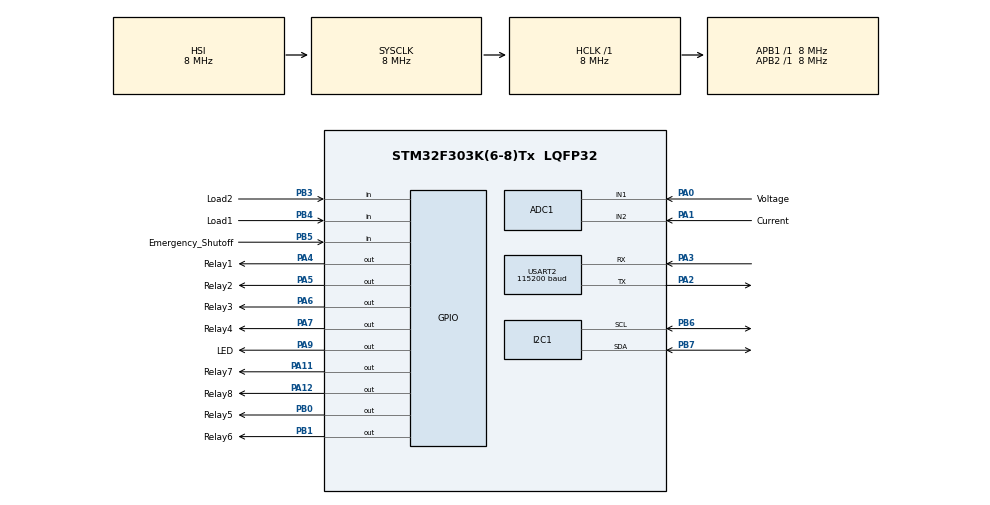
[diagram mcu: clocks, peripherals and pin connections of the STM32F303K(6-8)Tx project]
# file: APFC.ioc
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ADC1.Channel-0\#ChannelRegularConversion=ADC_CHANNEL_1
ADC1.Channel-1\#ChannelRegularConversion=ADC_CHANNEL_2
ADC1.ContinuousConvMode=DISABLE
ADC1.DMAContinuousRequests=ENABLE
ADC1.ExternalTrigConv=ADC_EXTERNALTRIGCONV_T2_TRGO
ADC1.NbrOfConversion=2
ADC1.NbrOfConversionFlag=1
ADC1.Offset-0\#ChannelRegularConversion=0
ADC1.Offset-1\#ChannelRegularConversion=0
ADC1.OffsetNumber-0\#ChannelRegularConversion=ADC_OFFSET_NONE
ADC1.OffsetNumber-1\#ChannelRegularConversion=ADC_OFFSET_NONE
ADC1.Rank-0\#ChannelRegularConversion=1
ADC1.Rank-1\#ChannelRegularConversion=2
ADC1.SamplingTime-0\#ChannelRegularConversion=ADC_SAMPLETIME_19CYCLES_5
ADC1.SamplingTime-1\#ChannelRegularConversion=ADC_SAMPLETIME_19CYCLES_5
ADC1.SamplingTimeOPAMP-1\#ChannelRegularConversion=ADC_SAMPLETIME_7CYCLES_5
ADC1.SubFamily=STM32F303x8
ADC1.master=1
Dma.ADC1.0.Direction=DMA_PERIPH_TO_MEMORY
Dma.ADC1.0.Instance=DMA1_Channel1
Dma.ADC1.0.MemDataAlignment=DMA_MDATAALIGN_WORD
Dma.ADC1.0.MemInc=DMA_MINC_ENABLE
Dma.ADC1.0.Mode=DMA_CIRCULAR
Dma.ADC1.0.PeriphDataAlignment=DMA_PDATAALIGN_WORD
Dma.ADC1.0.PeriphInc=DMA_PINC_DISABLE
Dma.ADC1.0.Priority=DMA_PRIORITY_LOW
Dma.Request0=ADC1
I2C1.Timing=0x00201D2B
Mcu.Family=STM32F3
Mcu.Name=STM32F303K(6-8)Tx
Mcu.Package=LQFP32
NVIC.ADC1_2_IRQn=true\:0\:0\:false\:false\:true\:true\:true\:true
NVIC.DMA1_Channel1_IRQn=true\:0\:0\:false\:false\:true\:false\:true\:true
NVIC.FPU_IRQn=true\:0\:0\:false\:false\:true\:true\:false\:true
NVIC.I2C1_ER_IRQn=true\:0\:0\:false\:false\:true\:true\:true\:true
NVIC.I2C1_EV_IRQn=true\:0\:0\:false\:false\:true\:true\:true\:true
NVIC.PriorityGroup=NVIC_PRIORITYGROUP_4
NVIC.TIM2_IRQn=true\:0\:0\:false\:false\:true\:true\:true\:true
NVIC.USART2_IRQn=true\:0\:0\:false\:false\:true\:true\:true\:true
PA0.GPIO_Label=Voltage
PA0.Mode=IN1-Single-Ended
PA0.Signal=ADC1_IN1
PA1.GPIO_Label=Current
PA1.Mode=IN2-Single-Ended
PA1.Signal=ADC1_IN2
PA11.GPIO_Label=Relay7
PA11.Signal=GPIO_Output
PA12.GPIO_Label=Relay8
PA12.Signal=GPIO_Output
PA13.GPIO_Label=SWDIO
PA13.Mode=Serial_Wire
PA13.Signal=SYS_JTMS-SWDIO
PA14.GPIO_Label=SWCLK
PA14.Mode=Serial_Wire
PA14.Signal=SYS_JTCK-SWCLK
PA2.Mode=Asynchronous
PA2.Signal=USART2_TX
PA3.Mode=Asynchronous
PA3.Signal=USART2_RX
PA4.GPIO_Label=Relay1
PA4.Signal=GPIO_Output
PA5.GPIO_Label=Relay2
PA5.Signal=GPIO_Output
PA6.GPIO_Label=Relay3
PA6.Signal=GPIO_Output
PA7.GPIO_Label=Relay4
PA7.Signal=GPIO_Output
PA9.GPIO_Label=LED
PA9.Signal=GPIO_Output
PB0.GPIO_Label=Relay5
PB0.Signal=GPIO_Output
PB1.GPIO_Label=Relay6
PB1.Signal=GPIO_Output
PB3.GPIO_Label=Load2
PB3.GPIO_PuPd=GPIO_PULLDOWN
PB3.Signal=GPIO_Input
PB4.GPIO_Label=Load1
PB4.GPIO_PuPd=GPIO_PULLDOWN
PB4.Signal=GPIO_Input
PB5.GPIO_Label=Emergency_Shutoff
PB5.Signal=GPIO_Input
PB6.GPIO_Pu=GPIO_PULLUP
PB6.Mode=I2C
PB6.Signal=I2C1_SCL
PB7.GPIO_Pu=GPIO_PULLUP
PB7.Mode=I2C
PB7.Signal=I2C1_SDA
PF0\ /\ OSC_IN.GPIO_Label=MCO
PF0\ /\ OSC_IN.Mode=HSE-External-Clock-Source
PF0\ /\ OSC_IN.Signal=RCC_OSC_IN
ProjectManager.HeapSize=0x200
ProjectManager.StackSize=0x400
ProjectManager.TargetToolchain=STM32CubeIDE
RCC.AHBFreq_Value=8000000
RCC.APB1Freq_Value=8000000
RCC.APB2Freq_Value=8000000
RCC.CortexFreq_Value=8000000
RCC.HSE_VALUE=8000000
RCC.HSI_VALUE=8000000
RCC.PLLMUL=RCC_PLL_MUL4
RCC.SYSCLKFreq_VALUE=8000000
TIM2.Period=19
TIM2.Prescaler=79
TIM2.TIM_MasterOutputTrigger=TIM_TRGO_UPDATE
TIM2.TIM_MasterSlaveMode=TIM_MASTERSLAVEMODE_DISABLE
USART2.BaudRate=115200
USART2.VirtualMode-Asynchronous=VM_ASYNC
VP_TIM2_VS_ClockSourceINT.Mode=Internal
board=NUCLEO-F303K8

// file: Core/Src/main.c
/* USER CODE BEGIN Header */
/**
  ******************************************************************************
  * @file           : main.c
  * @brief          : Main program body
  ******************************************************************************
  * @attention
  *
  * Copyright (c) 2026 STMicroelectronics.
  * All rights reserved.
  *
  * This software is licensed under terms that can be found in the LICENSE file
  * in the root directory of this software component.
  * If no LICENSE file comes with this software, it is provided AS-IS.
  *
  ******************************************************************************
  */
/* USER CODE END Header */
#include "main.h"

/* USER CODE BEGIN Includes */
#include "I2C_LCD_PCF8574.h"
#include <stdio.h>
#include <stdlib.h>
#include <string.h>
#include <math.h>
/* USER CODE END Includes */

/* USER CODE BEGIN PD */
#define SAMPLE_COUNT 500
#define SENSOR_GAIN     1			// NEED TO ADD GAIN FOR VOLTAGE
#define PF_TARGET       0.95f
#define PF_HYST         0.02f
#define PF_FILTER_SIZE  10
#define Q_MIN           2.0f
#define MIN_V           0.05f
#define MIN_I           0.01f
/* USER CODE END PD */

ADC_HandleTypeDef hadc1;
DMA_HandleTypeDef hdma_adc1;

I2C_HandleTypeDef hi2c1;

TIM_HandleTypeDef htim2;

UART_HandleTypeDef huart2;

/* USER CODE BEGIN PV */
volatile uint32_t adc_dma_buffer[2 * SAMPLE_COUNT];
volatile uint8_t buffer_full = 0;
static uint8_t relay_state = 0;
char msg[50];
char lcd_string[17];
float pf = 0;
float pf_corrected = 0;
float pf_buffer[PF_FILTER_SIZE] = {0};
uint8_t pf_index = 0;
uint8_t pf_filled = 0;
uint8_t freq = 60;
/* USER CODE END PV */

void SystemClock_Config(void);
static void MX_GPIO_Init(void);
static void MX_DMA_Init(void);
static void MX_ADC1_Init(void);
static void MX_TIM2_Init(void);
static void MX_USART2_UART_Init(void);
static void MX_I2C1_Init(void);
/* USER CODE BEGIN PFP */
void UART_PutString(char * uart_str);
void CapBankSwitchLogic(float Qc);
void Relay_On(uint8_t relay);
void Relay_Off(uint8_t relay);
float PF_Filter(float pf_corrected);
/* USER CODE END PFP */

int main(void)
{

  /* MCU Configuration--------------------------------------------------------*/

  /* Reset of all peripherals, Initializes the Flash interface and the Systick. */
  HAL_Init();

  /* Configure the system clock */
  SystemClock_Config();

  /* Initialize all configured peripherals */
  MX_GPIO_Init();
  MX_DMA_Init();
  MX_ADC1_Init();
  MX_TIM2_Init();
  MX_USART2_UART_Init();
  MX_I2C1_Init();
  /* USER CODE BEGIN 2 */
  HAL_Delay(5);
  LCD_Start();
  HAL_Delay(5);
  HAL_TIM_Base_Start_IT(&htim2);
  HAL_ADC_Start_DMA(&hadc1, (uint32_t*)adc_dma_buffer, 2*SAMPLE_COUNT);

  HAL_StatusTypeDef ret;

  ret = HAL_I2C_IsDeviceReady(&hi2c1, 0x4E, 3, 100);
  if(ret == HAL_OK)
      UART_PutString("LCD FOUND\r\n");
  else
      UART_PutString("LCD NOT FOUND\r\n");

  /* USER CODE END 2 */

  /* Infinite loop */
  /* USER CODE BEGIN WHILE */
  while (1)
  {
      if(buffer_full)
      {
          buffer_full = 0;
          float v_mean = 0, i_mean = 0;
          float v_rms = 0, i_rms = 0;
          float v, c, v_real, i_real;
          float real_power = 0, apparent_power = 0;
          float volts_per_count = 3.3f / 4095.0f;

          // MEAN CALCULATION (To remove DC offset / center at zero)
          for(int i = 0; i < SAMPLE_COUNT; i++)
          {
              v_mean += adc_dma_buffer[2*i];
              i_mean += adc_dma_buffer[2*i + 1];
          }
          v_mean /= SAMPLE_COUNT;
          i_mean /= SAMPLE_COUNT;

          // RMS + REAL POWER + APPARENT POWER
          for(int i = 0; i < SAMPLE_COUNT; i++)
          {
              v = adc_dma_buffer[2*i] - v_mean;
              c = adc_dma_buffer[2*i + 1] - i_mean;

              v_real = v * volts_per_count;
              i_real = (c * volts_per_count) / SENSOR_GAIN;		// PRIORITY // CT: Is = (Ip / 1000) // Vs = Is * (50 0hm) // Pot gain is 20, 50/1000 = .05*20 = 1
              	  	  	  	  	  	  	  	  	  	  	  	  	// SENSOR GAIN SHOULD BE 1
              v_rms += (v_real * v_real);
              i_rms += (i_real * i_real);

              real_power += (v_real * i_real);
          }
          v_rms = sqrtf(v_rms / SAMPLE_COUNT);
          i_rms = sqrtf(i_rms / SAMPLE_COUNT);

          // --------------------------------------------------------------------------------
          static uint32_t last_switch_time = 0;

    	  // Emergency_Shutoff
          int Emergency;
          if (HAL_GPIO_ReadPin(Emergency_Shutoff_GPIO_Port, Emergency_Shutoff_Pin) == GPIO_PIN_SET)
          {Emergency = 1;}

          // Over/Under Voltage Protection (Relay 8)
          if (v_rms < 108.0f || v_rms > 132.0f || Emergency)
          {
              Relay_Off(8); // Shut off main
              CapBankSwitchLogic(0);
              last_switch_time = HAL_GetTick();
              UART_PutString("VOLTAGE FAULT \r\n");
          }
          else if (HAL_GetTick() - last_switch_time > 3000)
          {Relay_On(8);}

          // Load 1 / Load 2
          if (HAL_GPIO_ReadPin(Load1_GPIO_Port, Load1_Pin) == GPIO_PIN_SET)
          {Relay_On(6);}
          else if (HAL_GetTick() - last_switch_time > 3000)
          {Relay_Off(6);}
          if (HAL_GPIO_ReadPin(Load2_GPIO_Port, Load2_Pin) == GPIO_PIN_SET)
          {Relay_On(7);}
          else if (HAL_GetTick() - last_switch_time > 3000)
          {Relay_Off(7);}
          // ----------------------------------------------------------------------------------

          real_power /= SAMPLE_COUNT;
          apparent_power = (v_rms * i_rms);

          // SIGNAL VALIDATION + POWER FACTOR
          if(v_rms < MIN_V || i_rms < MIN_I)
          {
              Relay_Off(1);
              Relay_Off(2);
              Relay_Off(3);
              Relay_Off(4);
              Relay_Off(5);

              relay_state = 0;

              UART_PutString("Signal too small \r\n");
              HAL_ADC_Start_DMA(&hadc1, (uint32_t*)adc_dma_buffer, 2*SAMPLE_COUNT);
              //continue; // Returns to top of loop											UNCOMMENT UNCOMMENT UNCOMMENT UNCOMMENT
          }
          else
          {
              pf = real_power / apparent_power;
              float angle = acosf(pf);					// in radians
              pf_corrected = cosf(angle + 0.349); // 20 degrees*(pi/180) = 0.349 radians // 20 degree offset from CT	// Check again after voltage module
          }

          // Clamp
          if(pf_corrected >= 1) pf_corrected = 0.999f;	 // Prevent acos/tan instability
          if(pf_corrected <= -1) pf_corrected = -0.999f; // Prevent acos/tan instability

          // Filter
          float pf_safe = PF_Filter(pf_corrected);

          // REACTIVE POWER
          float Qcurrent = real_power * tanf(acosf(pf_safe));
          float Qtarget  = real_power * tanf(acosf(PF_TARGET));
          float Qc = Qcurrent - Qtarget;
          float C = (Qc / (2.0f * M_PI * freq * (v_rms * v_rms))) * 1000000.0f;

          // DEAD BAND
          if(pf_safe > (PF_TARGET - PF_HYST) && pf_safe < (PF_TARGET + PF_HYST))
          {
              snprintf(msg, 50, "PF: %.2f (stable) \r\n", pf_safe);
              UART_PutString(msg);
              HAL_ADC_Start_DMA(&hadc1, (uint32_t*)adc_dma_buffer, 2*SAMPLE_COUNT);
              //continue;																UNCOMMENT UNCOMMENT UNCOMMENT UNCOMMENT
          }

          // RELAY DELAY
          if(HAL_GetTick() - last_switch_time < 3000)
        	  HAL_ADC_Start_DMA(&hadc1, (uint32_t*)adc_dma_buffer, 2*SAMPLE_COUNT);
              //continue;																UNCOMMENT UNCOMMENT UNCOMMENT UNCOMMENT

          // CONTROL LOGIC
          if(pf_safe < (PF_TARGET - PF_HYST))
          {
              // Need more capacitance
              CapBankSwitchLogic(C);
              last_switch_time = HAL_GetTick();
          }
          else if(pf_safe > (PF_TARGET + PF_HYST))
          {
        	  CapBankSwitchLogic(0);
        	  last_switch_time = HAL_GetTick();
          }

          // Print values to terminal
          snprintf(msg, 50, "V: %.2f V, I: %.2f A, PF: %.3f \r\n", v_rms, i_rms, pf_safe);
          UART_PutString(msg);

          // LCD_PutChar(sel+0x30); or just the number you want: 0x3#
          // Print values to LCD
          LCD_ClearDisplay();
          snprintf(lcd_string, 17, "PF: %.2f", pf_safe);
          //LCD_Position(0, 0);
          LCD_PrintString(lcd_string);
          snprintf(lcd_string, 17, "V:%.1f I:%.1f", v_rms, i_rms);
          LCD_Position(1, 0);
          LCD_PrintString(lcd_string);

          HAL_ADC_Start_DMA(&hadc1, (uint32_t*)adc_dma_buffer, 2*SAMPLE_COUNT);
      }

    /* USER CODE END WHILE */

  }
}

void SystemClock_Config(void)
{
  RCC_OscInitTypeDef RCC_OscInitStruct = {0};
  RCC_ClkInitTypeDef RCC_ClkInitStruct = {0};
  RCC_PeriphCLKInitTypeDef PeriphClkInit = {0};

  /** Initializes the RCC Oscillators according to the specified parameters
  * in the RCC_OscInitTypeDef structure.
  */
  RCC_OscInitStruct.OscillatorType = RCC_OSCILLATORTYPE_HSI;
  RCC_OscInitStruct.HSIState = RCC_HSI_ON;
  RCC_OscInitStruct.HSICalibrationValue = RCC_HSICALIBRATION_DEFAULT;
  RCC_OscInitStruct.PLL.PLLState = RCC_PLL_ON;
  RCC_OscInitStruct.PLL.PLLSource = RCC_PLLSOURCE_HSI;
  RCC_OscInitStruct.PLL.PLLMUL = RCC_PLL_MUL4;
  if (HAL_RCC_OscConfig(&RCC_OscInitStruct) != HAL_OK)
  {
    Error_Handler();
  }

  /** Initializes the CPU, AHB and APB buses clocks
  */
  RCC_ClkInitStruct.ClockType = RCC_CLOCKTYPE_HCLK|RCC_CLOCKTYPE_SYSCLK
                              |RCC_CLOCKTYPE_PCLK1|RCC_CLOCKTYPE_PCLK2;
  RCC_ClkInitStruct.SYSCLKSource = RCC_SYSCLKSOURCE_HSI;
  RCC_ClkInitStruct.AHBCLKDivider = RCC_SYSCLK_DIV1;
  RCC_ClkInitStruct.APB1CLKDivider = RCC_HCLK_DIV1;
  RCC_ClkInitStruct.APB2CLKDivider = RCC_HCLK_DIV1;

  if (HAL_RCC_ClockConfig(&RCC_ClkInitStruct, FLASH_LATENCY_0) != HAL_OK)
  {
    Error_Handler();
  }
  PeriphClkInit.PeriphClockSelection = RCC_PERIPHCLK_I2C1|RCC_PERIPHCLK_ADC12;
  PeriphClkInit.Adc12ClockSelection = RCC_ADC12PLLCLK_DIV1;
  PeriphClkInit.I2c1ClockSelection = RCC_I2C1CLKSOURCE_HSI;
  if (HAL_RCCEx_PeriphCLKConfig(&PeriphClkInit) != HAL_OK)
  {
    Error_Handler();
  }
}

static void MX_ADC1_Init(void)
{

  ADC_MultiModeTypeDef multimode = {0};
  ADC_ChannelConfTypeDef sConfig = {0};

  /** Common config
  */
  hadc1.Instance = ADC1;
  hadc1.Init.ClockPrescaler = ADC_CLOCK_ASYNC_DIV1;
  hadc1.Init.Resolution = ADC_RESOLUTION_12B;
  hadc1.Init.ScanConvMode = ADC_SCAN_ENABLE;
  hadc1.Init.ContinuousConvMode = DISABLE;
  hadc1.Init.DiscontinuousConvMode = DISABLE;
  hadc1.Init.ExternalTrigConvEdge = ADC_EXTERNALTRIGCONVEDGE_RISING;
  hadc1.Init.ExternalTrigConv = ADC_EXTERNALTRIGCONV_T2_TRGO;
  hadc1.Init.DataAlign = ADC_DATAALIGN_RIGHT;
  hadc1.Init.NbrOfConversion = 2;
  hadc1.Init.DMAContinuousRequests = ENABLE;
  hadc1.Init.EOCSelection = ADC_EOC_SINGLE_CONV;
  hadc1.Init.LowPowerAutoWait = DISABLE;
  hadc1.Init.Overrun = ADC_OVR_DATA_OVERWRITTEN;
  if (HAL_ADC_Init(&hadc1) != HAL_OK)
  {
    Error_Handler();
  }

  /** Configure the ADC multi-mode
  */
  multimode.Mode = ADC_MODE_INDEPENDENT;
  if (HAL_ADCEx_MultiModeConfigChannel(&hadc1, &multimode) != HAL_OK)
  {
    Error_Handler();
  }

  /** Configure Regular Channel
  */
  sConfig.Channel = ADC_CHANNEL_1;
  sConfig.Rank = ADC_REGULAR_RANK_1;
  sConfig.SingleDiff = ADC_SINGLE_ENDED;
  sConfig.SamplingTime = ADC_SAMPLETIME_19CYCLES_5;
  sConfig.OffsetNumber = ADC_OFFSET_NONE;
  sConfig.Offset = 0;
  if (HAL_ADC_ConfigChannel(&hadc1, &sConfig) != HAL_OK)
  {
    Error_Handler();
  }

  /** Configure Regular Channel
  */
  sConfig.Channel = ADC_CHANNEL_2;
  sConfig.Rank = ADC_REGULAR_RANK_2;
  if (HAL_ADC_ConfigChannel(&hadc1, &sConfig) != HAL_OK)
  {
    Error_Handler();
  }

}

static void MX_I2C1_Init(void)
{

  hi2c1.Instance = I2C1;
  hi2c1.Init.Timing = 0x00201D2B;
  hi2c1.Init.OwnAddress1 = 0;
  hi2c1.Init.AddressingMode = I2C_ADDRESSINGMODE_7BIT;
  hi2c1.Init.DualAddressMode = I2C_DUALADDRESS_DISABLE;
  hi2c1.Init.OwnAddress2 = 0;
  hi2c1.Init.OwnAddress2Masks = I2C_OA2_NOMASK;
  hi2c1.Init.GeneralCallMode = I2C_GENERALCALL_DISABLE;
  hi2c1.Init.NoStretchMode = I2C_NOSTRETCH_DISABLE;
  if (HAL_I2C_Init(&hi2c1) != HAL_OK)
  {
    Error_Handler();
  }

  /** Configure Analogue filter
  */
  if (HAL_I2CEx_ConfigAnalogFilter(&hi2c1, I2C_ANALOGFILTER_ENABLE) != HAL_OK)
  {
    Error_Handler();
  }

  /** Configure Digital filter
  */
  if (HAL_I2CEx_ConfigDigitalFilter(&hi2c1, 0) != HAL_OK)
  {
    Error_Handler();
  }

}

static void MX_TIM2_Init(void)
{

  TIM_ClockConfigTypeDef sClockSourceConfig = {0};
  TIM_MasterConfigTypeDef sMasterConfig = {0};

  htim2.Instance = TIM2;
  htim2.Init.Prescaler = 79;
  htim2.Init.CounterMode = TIM_COUNTERMODE_UP;
  htim2.Init.Period = 19;
  htim2.Init.ClockDivision = TIM_CLOCKDIVISION_DIV1;
  htim2.Init.AutoReloadPreload = TIM_AUTORELOAD_PRELOAD_DISABLE;
  if (HAL_TIM_Base_Init(&htim2) != HAL_OK)
  {
    Error_Handler();
  }
  sClockSourceConfig.ClockSource = TIM_CLOCKSOURCE_INTERNAL;
  if (HAL_TIM_ConfigClockSource(&htim2, &sClockSourceConfig) != HAL_OK)
  {
    Error_Handler();
  }
  sMasterConfig.MasterOutputTrigger = TIM_TRGO_UPDATE;
  sMasterConfig.MasterSlaveMode = TIM_MASTERSLAVEMODE_DISABLE;
  if (HAL_TIMEx_MasterConfigSynchronization(&htim2, &sMasterConfig) != HAL_OK)
  {
    Error_Handler();
  }

}

static void MX_USART2_UART_Init(void)
{

  huart2.Instance = USART2;
  huart2.Init.BaudRate = 115200;
  huart2.Init.WordLength = UART_WORDLENGTH_8B;
  huart2.Init.StopBits = UART_STOPBITS_1;
  huart2.Init.Parity = UART_PARITY_NONE;
  huart2.Init.Mode = UART_MODE_TX_RX;
  huart2.Init.HwFlowCtl = UART_HWCONTROL_NONE;
  huart2.Init.OverSampling = UART_OVERSAMPLING_16;
  huart2.Init.OneBitSampling = UART_ONE_BIT_SAMPLE_DISABLE;
  huart2.AdvancedInit.AdvFeatureInit = UART_ADVFEATURE_NO_INIT;
  if (HAL_UART_Init(&huart2) != HAL_OK)
  {
    Error_Handler();
  }

}

static void MX_DMA_Init(void)
{

  /* DMA controller clock enable */
  __HAL_RCC_DMA1_CLK_ENABLE();

  /* DMA interrupt init */
  /* DMA1_Channel1_IRQn interrupt configuration */
  HAL_NVIC_SetPriority(DMA1_Channel1_IRQn, 0, 0);
  HAL_NVIC_EnableIRQ(DMA1_Channel1_IRQn);

}

static void MX_GPIO_Init(void)
{
  GPIO_InitTypeDef GPIO_InitStruct = {0};

  /* GPIO Ports Clock Enable */
  __HAL_RCC_GPIOF_CLK_ENABLE();
  __HAL_RCC_GPIOA_CLK_ENABLE();
  __HAL_RCC_GPIOB_CLK_ENABLE();

  /*Configure GPIO pin Output Level */
  HAL_GPIO_WritePin(GPIOA, Relay1_Pin|Relay2_Pin|Relay3_Pin|Relay4_Pin
                          |LED_Pin|Relay7_Pin|Relay8_Pin, GPIO_PIN_RESET);

  /*Configure GPIO pin Output Level */
  HAL_GPIO_WritePin(GPIOB, Relay5_Pin|Relay6_Pin, GPIO_PIN_RESET);

  /*Configure GPIO pins : Relay1_Pin Relay2_Pin Relay3_Pin Relay4_Pin
                           LED_Pin Relay7_Pin Relay8_Pin */
  GPIO_InitStruct.Pin = Relay1_Pin|Relay2_Pin|Relay3_Pin|Relay4_Pin
                          |LED_Pin|Relay7_Pin|Relay8_Pin;
  GPIO_InitStruct.Mode = GPIO_MODE_OUTPUT_PP;
  GPIO_InitStruct.Pull = GPIO_NOPULL;
  GPIO_InitStruct.Speed = GPIO_SPEED_FREQ_LOW;
  HAL_GPIO_Init(GPIOA, &GPIO_InitStruct);

  /*Configure GPIO pins : Relay5_Pin Relay6_Pin */
  GPIO_InitStruct.Pin = Relay5_Pin|Relay6_Pin;
  GPIO_InitStruct.Mode = GPIO_MODE_OUTPUT_PP;
  GPIO_InitStruct.Pull = GPIO_NOPULL;
  GPIO_InitStruct.Speed = GPIO_SPEED_FREQ_LOW;
  HAL_GPIO_Init(GPIOB, &GPIO_InitStruct);

  /*Configure GPIO pins : Load2_Pin Load1_Pin */
  GPIO_InitStruct.Pin = Load2_Pin|Load1_Pin;
  GPIO_InitStruct.Mode = GPIO_MODE_INPUT;
  GPIO_InitStruct.Pull = GPIO_PULLDOWN;
  HAL_GPIO_Init(GPIOB, &GPIO_InitStruct);

  /*Configure GPIO pin : Emergency_Shutoff_Pin */
  GPIO_InitStruct.Pin = Emergency_Shutoff_Pin;
  GPIO_InitStruct.Mode = GPIO_MODE_INPUT;
  GPIO_InitStruct.Pull = GPIO_NOPULL;
  HAL_GPIO_Init(Emergency_Shutoff_GPIO_Port, &GPIO_InitStruct);

}

/* USER CODE BEGIN 4 */

void UART_PutString(char * uart_str)
{
	HAL_UART_Transmit(&huart2, (uint8_t *)uart_str, strnlen(uart_str, 80), -1);
}

void HAL_ADC_ConvCpltCallback(ADC_HandleTypeDef* hadc)
{
    if(hadc->Instance == ADC1)
    {
    	HAL_ADC_Stop_DMA(&hadc1);
        buffer_full = 1;
    }
}

void Relay_On(uint8_t relay)
{
    switch(relay)
    {
        case 1:
            HAL_GPIO_WritePin(GPIOA, Relay1_Pin, GPIO_PIN_SET);
            snprintf(msg, 50, "Relay 1 ON \r\n");
            break;

        case 2:
            HAL_GPIO_WritePin(GPIOA, Relay2_Pin, GPIO_PIN_SET);
            snprintf(msg, 50, "Relay 2 ON \r\n");
            break;

        case 3:
            HAL_GPIO_WritePin(GPIOA, Relay3_Pin, GPIO_PIN_SET);
            snprintf(msg, 50, "Relay 3 ON \r\n");
            break;

        case 4:
            HAL_GPIO_WritePin(GPIOA, Relay4_Pin, GPIO_PIN_SET);
            snprintf(msg, 50, "Relay 4 ON \r\n");
            break;

        case 5:
            HAL_GPIO_WritePin(GPIOB, Relay5_Pin, GPIO_PIN_SET);
            snprintf(msg, 50, "Relay 5 ON \r\n");
            break;

        case 6:
            HAL_GPIO_WritePin(GPIOB, Relay6_Pin, GPIO_PIN_SET);
            snprintf(msg, 50, "Relay 6 ON \r\n");
            break;
        case 7:
            HAL_GPIO_WritePin(GPIOA, Relay7_Pin, GPIO_PIN_SET);
            snprintf(msg, 50, "Relay 7 ON \r\n");
            break;
        case 8:
            HAL_GPIO_WritePin(GPIOA, Relay8_Pin, GPIO_PIN_SET);
            snprintf(msg, 50, "Relay 8 ON \r\n");
            break;
    }
    UART_PutString(msg);
}

void Relay_Off(uint8_t relay)
{
    switch(relay)
    {
        case 1:
            HAL_GPIO_WritePin(GPIOA, Relay1_Pin, GPIO_PIN_RESET);
            snprintf(msg, 50, "Relay 1 OFF \r\n");
            break;

        case 2:
            HAL_GPIO_WritePin(GPIOA, Relay2_Pin, GPIO_PIN_RESET);
            snprintf(msg, 50, "Relay 2 OFF \r\n");
            break;

        case 3:
            HAL_GPIO_WritePin(GPIOA, Relay3_Pin, GPIO_PIN_RESET);
            snprintf(msg, 50, "Relay 3 OFF \r\n");
            break;

        case 4:
            HAL_GPIO_WritePin(GPIOA, Relay4_Pin, GPIO_PIN_RESET);
            snprintf(msg, 50, "Relay 4 OFF \r\n");
            break;

        case 5:
            HAL_GPIO_WritePin(GPIOB, Relay5_Pin, GPIO_PIN_RESET);
            snprintf(msg, 50, "Relay 5 OFF \r\n");
            break;

        case 6:
            HAL_GPIO_WritePin(GPIOB, Relay6_Pin, GPIO_PIN_RESET);
            snprintf(msg, 50, "Relay 6 OFF \r\n");
            break;
        case 7:
            HAL_GPIO_WritePin(GPIOA, Relay7_Pin, GPIO_PIN_RESET);
            snprintf(msg, 50, "Relay 7 OFF \r\n");
            break;
        case 8:
            HAL_GPIO_WritePin(GPIOA, Relay8_Pin, GPIO_PIN_RESET);
            snprintf(msg, 50, "Relay 8 OFF \r\n");
            break;
    }
    UART_PutString(msg);
}

void CapBankSwitchLogic(float C)
{
    uint8_t new_state = 0;
    		// Relay: 1		2	  3		4	   5
    float caps[5] = {1.0f, 2.0f, 5.0f, 10.0f, 20.0f};

    // Start from largest to smallest
    for(int i = 4; i >= 0; i--)
    {
        if(C >= caps[i])
        {
            new_state |= (1 << i);	// MSB is relay (5) with largest reactive power
            C -= caps[i];
        }
    }

    // Apply only changes
    for(int i = 0; i < 5; i++)
    {
        uint8_t mask = (1 << i);

        if((new_state & mask) && !(relay_state & mask))
            Relay_On(i+1);

        else if(!(new_state & mask) && (relay_state & mask))
            Relay_Off(i+1);
    }

    relay_state = new_state;

    snprintf(msg, 50, "C: %.1f State: %d \r\n", C, relay_state);					//STATE NEEDS CHANGED FROM 8 BITS (DISPAYING AS DECIMAL EX. 31) TO ACTUAL BINARY
    UART_PutString(msg);
}

float PF_Filter(float pf_corrected)
{
    pf_buffer[pf_index++] = pf_corrected;

    if(pf_index >= PF_FILTER_SIZE)
    {
        pf_index = 0;
        pf_filled = 1;
    }

    float sum = 0;
    float count = pf_filled ? PF_FILTER_SIZE : pf_index;

    if (count == 0) return pf_corrected;

    for(int i = 0; i < count; i++)
        sum += pf_buffer[i];

    return sum / count;
}
/* USER CODE END 4 */

void Error_Handler(void)
{
  __disable_irq();
  while (1)
  {
  }
}
